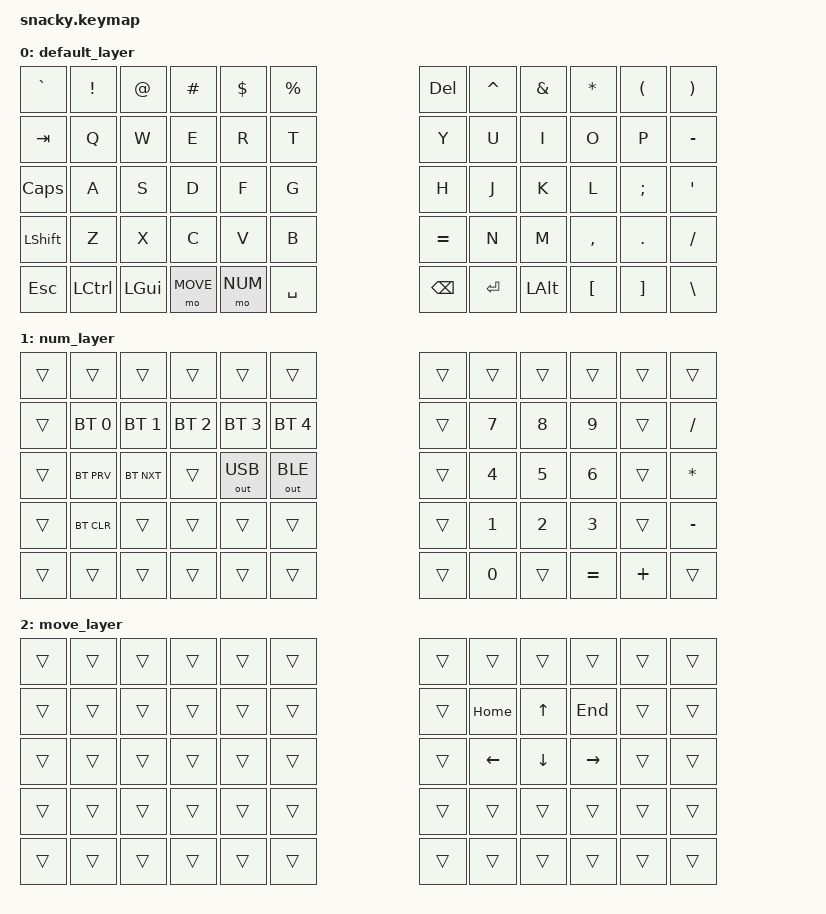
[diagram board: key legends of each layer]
#include <behaviors.dtsi>
#include <dt-bindings/zmk/keys.h>
#include <dt-bindings/zmk/bt.h>
#include <dt-bindings/zmk/outputs.h>

#define NUM 1
#define MOVE 2

/ {
    keymap {
        compatible = "zmk,keymap";

        default_layer {
            // 各行6キー x 5行(row4は親指の段)。左右合わせて60キー。
            // 並び順はsnacky.dtsiのdefault_transformのmapと対応しています。
            //
            // row0は数字ではなく記号(シフト無しで打てる、標準的な数字段の
            // シフト面)に変更。数字自体はnum_layer(&lt NUM SPACE を長押し)
            // で同じ位置から入力する。
            bindings = <
                // row0: 記号列(数字段のシフト面と同じ記号)
                &kp GRAVE &kp EXCL  &kp AT   &kp HASH  &kp DLLR &kp PRCNT                       &kp DEL   &kp CARET   &kp AMPS  &kp ASTRK  &kp LPAR  &kp RPAR 
                // row1: QWERTY列
                &kp TAB   &kp Q     &kp W    &kp E     &kp R    &kp T                           &kp Y     &kp U      &kp I      &kp O     &kp P     &kp MINUS
                // row2: ホームポジション列
                &kp CAPS  &kp A     &kp S    &kp D     &kp F    &kp G                           &kp H     &kp J      &kp K      &kp L     &kp SEMI  &kp SQT   
                // row3: 下段列
                &kp LSHFT &kp Z     &kp X    &kp C     &kp V    &kp B                           &kp EQUAL &kp N      &kp M     &kp COMMA  &kp DOT   &kp FSLH
                // row4: 親指の段(左6 / 右6)。左手親指にNUMレイヤーとMOVEレイヤーを配置。
                &kp ESC   &kp LCTRL &kp LGUI &mo MOVE  &mo NUM  &kp SPACE                       &kp BSPC  &kp ENTER  &kp LALT  &kp LBKT  &kp RBKT  &kp BSLH
            >;
        };

        num_layer {
            // 右手側に電卓ライクな配置それ以外は&transで下の層を素通しする。
            // 左手側にはBluetooth関連のキーを配置。
            //   row1: 接続先プロファイル0〜4を選択(PCごとに別のプロファイルを使う)
            //   row2: 前/次のプロファイルへ切替、USB/BLE出力の切替
            //   row3: 現在のプロファイルのペアリング情報を削除(新しいPCとペアリングし直す時に使用)
            bindings = <
                // row0: 素通し
                &trans    &trans   &trans    &trans   &trans    &trans                       &trans    &trans    &trans    &trans   &trans      &trans
                // row1-row4: 左手側にBluetooth、右手側に電卓ライクな配置
                &trans    &bt BT_SEL 0 &bt BT_SEL 1 &bt BT_SEL 2 &bt BT_SEL 3 &bt BT_SEL 4   &trans    &kp N7    &kp N8    &kp N9   &trans      &kp FSLH
                &trans    &bt BT_PRV &bt BT_NXT &trans &out OUT_USB &out OUT_BLE             &trans    &kp N4    &kp N5    &kp N6   &trans      &kp ASTRK
                &trans    &bt BT_CLR &trans  &trans   &trans    &trans                       &trans    &kp N1    &kp N2    &kp N3   &trans      &kp MINUS
                &trans    &trans   &trans    &trans   &trans    &trans                       &trans    &kp N0    &trans    &kp EQUAL &kp PLUS    &trans
            >;
        };

        move_layer {
            // 移動系統
            bindings = <
                // row0: 素通し
                &trans    &trans   &trans    &trans   &trans    &trans                       &trans    &trans      &trans     &trans     &trans    &trans
                // row1-row3: 右手側に移動系
                &trans    &trans   &trans    &trans   &trans    &trans                       &trans    &kp HOME    &kp UP     &kp END    &trans    &trans
                &trans    &trans   &trans    &trans   &trans    &trans                       &trans    &kp LEFT    &kp DOWN   &kp RIGHT  &trans    &trans
                &trans    &trans   &trans    &trans   &trans    &trans                       &trans    &trans      &trans     &trans     &trans    &trans
                // row4: 素通し(左6 / 右6)
                &trans    &trans   &trans    &trans   &trans    &trans                       &trans    &trans      &trans     &trans     &trans    &trans
            >;
        };
    };
};
